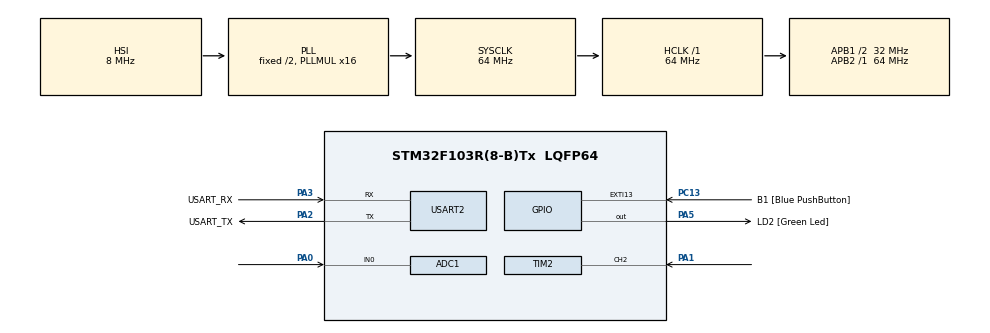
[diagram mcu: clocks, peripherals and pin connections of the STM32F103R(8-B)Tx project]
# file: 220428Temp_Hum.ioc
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ADC1.Channel-0\#ChannelRegularConversion=ADC_CHANNEL_0
ADC1.ContinuousConvMode=ENABLE
ADC1.NbrOfConversionFlag=1
ADC1.Rank-0\#ChannelRegularConversion=1
ADC1.SamplingTime-0\#ChannelRegularConversion=ADC_SAMPLETIME_1CYCLE_5
ADC1.master=1
Mcu.Family=STM32F1
Mcu.Name=STM32F103R(8-B)Tx
Mcu.Package=LQFP64
NVIC.EXTI15_10_IRQn=true\:0\:0\:false\:false\:true\:true\:true\:true
NVIC.PriorityGroup=NVIC_PRIORITYGROUP_4
PA0-WKUP.Signal=ADCx_IN0
PA1.Signal=S_TIM2_CH2
PA13.GPIO_Label=TMS
PA13.Mode=Serial_Wire
PA13.Signal=SYS_JTMS-SWDIO
PA14.GPIO_Label=TCK
PA14.Mode=Serial_Wire
PA14.Signal=SYS_JTCK-SWCLK
PA2.GPIO_Label=USART_TX
PA2.GPIO_Mode=GPIO_MODE_AF_PP
PA2.GPIO_PuPd=GPIO_NOPULL
PA2.GPIO_Speed=GPIO_SPEED_FREQ_LOW
PA2.Mode=Asynchronous
PA2.Signal=USART2_TX
PA3.GPIO_Label=USART_RX
PA3.GPIO_Mode=GPIO_MODE_AF_PP
PA3.GPIO_PuPd=GPIO_NOPULL
PA3.GPIO_Speed=GPIO_SPEED_FREQ_LOW
PA3.Mode=Asynchronous
PA3.Signal=USART2_RX
PA5.GPIO_Label=LD2 [Green Led]
PA5.GPIO_ModeDefaultOutputPP=GPIO_MODE_OUTPUT_PP
PA5.GPIO_PuPd=GPIO_NOPULL
PA5.GPIO_Speed=GPIO_SPEED_FREQ_LOW
PA5.Signal=GPIO_Output
PB3.GPIO_Label=SWO
PB3.Signal=SYS_JTDO-TRACESWO
PC13-TAMPER-RTC.GPIO_Label=B1 [Blue PushButton]
PC13-TAMPER-RTC.GPIO_PuPd=GPIO_NOPULL
PC13-TAMPER-RTC.Signal=GPXTI13
PC14-OSC32_IN.Mode=LSE-External-Oscillator
PC14-OSC32_IN.Signal=RCC_OSC32_IN
PC15-OSC32_OUT.Mode=LSE-External-Oscillator
PC15-OSC32_OUT.Signal=RCC_OSC32_OUT
PD0-OSC_IN.Mode=HSE-External-Clock-Source
PD0-OSC_IN.Signal=RCC_OSC_IN
PD1-OSC_OUT.Mode=HSE-External-Clock-Source
PD1-OSC_OUT.Signal=RCC_OSC_OUT
ProjectManager.HeapSize=0x200
ProjectManager.StackSize=0x400
ProjectManager.TargetToolchain=STM32CubeIDE
RCC.ADCPresc=RCC_ADCPCLK2_DIV8
RCC.AHBFreq_Value=64000000
RCC.APB1CLKDivider=RCC_HCLK_DIV2
RCC.APB1Freq_Value=32000000
RCC.APB1TimFreq_Value=64000000
RCC.APB2Freq_Value=64000000
RCC.APB2TimFreq_Value=64000000
RCC.HCLKFreq_Value=64000000
RCC.PLLMUL=RCC_PLL_MUL16
RCC.RTCClockSelection=RCC_RTCCLKSOURCE_LSE
RCC.SYSCLKFreq_VALUE=64000000
RCC.SYSCLKSource=RCC_SYSCLKSOURCE_PLLCLK
RCC.USBFreq_Value=64000000
SH.ADCx_IN0.0=ADC1_IN0,IN0
SH.S_TIM2_CH2.0=TIM2_CH2,Input_Capture2_from_TI2
TIM2.Channel-Input_Capture2_from_TI2=TIM_CHANNEL_2
TIM2.ICPolarity_CH2=TIM_INPUTCHANNELPOLARITY_FALLING
TIM2.Period=65535
TIM2.Prescaler=64-1
USART2.VirtualMode=VM_ASYNC
VP_TIM2_VS_ClockSourceINT.Mode=Internal
board=NUCLEO-F103RB

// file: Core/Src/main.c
/* USER CODE BEGIN Header */
/**
  ******************************************************************************
  * @file           : main.c
  * @brief          : Main program body
  ******************************************************************************
  * @attention
  *
  * Copyright (c) 2022 STMicroelectronics.
  * All rights reserved.
  *
  * This software is licensed under terms that can be found in the LICENSE file
  * in the root directory of this software component.
  * If no LICENSE file comes with this software, it is provided AS-IS.
  *
  ******************************************************************************
  */
/* USER CODE END Header */
#include "main.h"

/* USER CODE BEGIN Includes */
#include <stdio.h>
/* USER CODE END Includes */

 ADC_HandleTypeDef hadc1;

TIM_HandleTypeDef htim2;

UART_HandleTypeDef huart2;

void SystemClock_Config(void);
static void MX_GPIO_Init(void);
static void MX_USART2_UART_Init(void);
static void MX_TIM2_Init(void);
static void MX_ADC1_Init(void);

/* USER CODE BEGIN 0 */
#ifdef __GNUC__
/* With GCC, small printf (option LD Linker->Libraries->Small printf
   set to 'Yes') calls __io_putchar() */
#define PUTCHAR_PROTOTYPE int __io_putchar(int ch)
#else
#define PUTCHAR_PROTOTYPE int fputc(int ch, FILE *f)
#endif /* __GNUC__ */

PUTCHAR_PROTOTYPE
{
  /* Place your implementation of fputc here */
  /* e.g. write a character to the USART1 and Loop until the end of transmission */
  HAL_UART_Transmit(&huart2, (uint8_t *)&ch, 1, 0xFFFF);

  return ch;
}

void us_delay(uint16_t delay)
{
	__HAL_TIM_SET_COUNTER(&htim2, 0);
	while((__HAL_TIM_GET_COUNTER(&htim2)) < delay);
}

uint8_t RH_integral, RH_decimal, T_integral, T_decimal;
uint8_t CheckSUM, Presence = 0;

void Set_Pin_Output(GPIO_TypeDef *GPIOx, uint16_t GPIO_Pin)
{
//	GPIO_InitTypeDef GPIO_InitStruct = {0};
//	GPIO_InitStruct.Pin = GPIO_Pin;
//	GPIO_InitStruct.Mode = GPIO_MODE_OUTPUT_PP;
//	GPIO_InitStruct.Speed = GPIO_SPEED_FREQ_LOW;
//	HAL_GPIO_Init(GPIOx, &GPIO_InitStruct);
	GPIOA->CRL |= (1<< 3| 1<<1 | 1<< 0);
	GPIOA->CRL &= ~(1<<2);
}

void Set_Pin_Input(GPIO_TypeDef *GPIOx, uint16_t GPIO_Pin)
{
//	GPIO_InitTypeDef GPIO_InitStruct = {0};
//	GPIO_InitStruct.Pin = GPIO_Pin;
//	GPIO_InitStruct.Mode = GPIO_MODE_INPUT;
//	GPIO_InitStruct.Pull = GPIO_PULLUP;
//	HAL_GPIO_Init(GPIOx, &GPIO_InitStruct);
	GPIOA->CRL &= ~(1<<2 |1<<1 | 1<<0 );
	GPIOA->CRL |= 1<<3;
}

void DHT11_Start (void)
{
	Set_Pin_Output (GPIOA, GPIO_PIN_0);  // set the pin as output
	HAL_GPIO_WritePin (GPIOA, GPIO_PIN_0, GPIO_PIN_RESET);   // pull the pin low
	HAL_Delay (18);   // wait for 18ms
    HAL_GPIO_WritePin (GPIOA, GPIO_PIN_0, GPIO_PIN_SET);   // pull the pin high
	us_delay (20);   // wait for 20us
	Set_Pin_Input(GPIOA, GPIO_PIN_0);    // set as input
}

uint8_t DHT11_Check_Response (void)
{
	uint8_t Response = 0;
	us_delay (40);
	if (!(HAL_GPIO_ReadPin (GPIOA, GPIO_PIN_0)))
	{
		us_delay (80);
		if ((HAL_GPIO_ReadPin (GPIOA, GPIO_PIN_0))) Response = 1;
		else Response = -1; // 255
	}
	while ((HAL_GPIO_ReadPin (GPIOA, GPIO_PIN_0)));   // wait for the pin to go low

	return Response;
}

uint8_t DHT11_Read (void)
{
	uint8_t data;
	for (uint8_t i=0;i<8;i++)
	{
		while (!(HAL_GPIO_ReadPin (GPIOA, GPIO_PIN_0)));   // wait for the pin to go high
		us_delay (40);   // wait for 40 us
		if (!(HAL_GPIO_ReadPin (GPIOA, GPIO_PIN_0)))   // if the pin is low
		{
			data = (data << 1);   // write 0
		}
		else data = (data<<1) + 1;  // if the pin is high, write 1

		while ((HAL_GPIO_ReadPin (GPIOA, GPIO_PIN_0)));  // wait for the pin to go low
	}
	return data;
}

/* USER CODE END 0 */

int main(void)
{

  /* MCU Configuration--------------------------------------------------------*/

  /* Reset of all peripherals, Initializes the Flash interface and the Systick. */
  HAL_Init();

  /* Configure the system clock */
  SystemClock_Config();

  /* Initialize all configured peripherals */
  MX_GPIO_Init();
  MX_USART2_UART_Init();
  MX_TIM2_Init();
  MX_ADC1_Init();
  /* USER CODE BEGIN 2 */
  HAL_TIM_Base_Start(&htim2);
  /* USER CODE END 2 */

  /* Infinite loop */
  /* USER CODE BEGIN WHILE */
  while (1)
  {
	  DHT11_Start();
	  DHT11_Check_Response();

	  RH_integral = DHT11_Read ();
	  RH_decimal = DHT11_Read ();
	  T_integral = DHT11_Read ();
	  T_decimal = DHT11_Read ();
	  CheckSUM = DHT11_Read();

	  if ((RH_integral + RH_decimal + T_integral + T_decimal) == CheckSUM)
	  {
		  printf("Temperature: %d.%d 'C\n", T_integral, T_decimal);
		  printf("Humidity:    %d.%d %%\n", RH_integral, RH_decimal);
	  }
	  else
	  {
		  printf("DHT11 Error\n");
	  }

	  HAL_Delay(1000);
    /* USER CODE END WHILE */

  }
}

void SystemClock_Config(void)
{
  RCC_OscInitTypeDef RCC_OscInitStruct = {0};
  RCC_ClkInitTypeDef RCC_ClkInitStruct = {0};
  RCC_PeriphCLKInitTypeDef PeriphClkInit = {0};

  /** Initializes the RCC Oscillators according to the specified parameters
  * in the RCC_OscInitTypeDef structure.
  */
  RCC_OscInitStruct.OscillatorType = RCC_OSCILLATORTYPE_HSI;
  RCC_OscInitStruct.HSIState = RCC_HSI_ON;
  RCC_OscInitStruct.HSICalibrationValue = RCC_HSICALIBRATION_DEFAULT;
  RCC_OscInitStruct.PLL.PLLState = RCC_PLL_ON;
  RCC_OscInitStruct.PLL.PLLSource = RCC_PLLSOURCE_HSI_DIV2;
  RCC_OscInitStruct.PLL.PLLMUL = RCC_PLL_MUL16;
  if (HAL_RCC_OscConfig(&RCC_OscInitStruct) != HAL_OK)
  {
    Error_Handler();
  }

  /** Initializes the CPU, AHB and APB buses clocks
  */
  RCC_ClkInitStruct.ClockType = RCC_CLOCKTYPE_HCLK|RCC_CLOCKTYPE_SYSCLK
                              |RCC_CLOCKTYPE_PCLK1|RCC_CLOCKTYPE_PCLK2;
  RCC_ClkInitStruct.SYSCLKSource = RCC_SYSCLKSOURCE_PLLCLK;
  RCC_ClkInitStruct.AHBCLKDivider = RCC_SYSCLK_DIV1;
  RCC_ClkInitStruct.APB1CLKDivider = RCC_HCLK_DIV2;
  RCC_ClkInitStruct.APB2CLKDivider = RCC_HCLK_DIV1;

  if (HAL_RCC_ClockConfig(&RCC_ClkInitStruct, FLASH_LATENCY_2) != HAL_OK)
  {
    Error_Handler();
  }
  PeriphClkInit.PeriphClockSelection = RCC_PERIPHCLK_ADC;
  PeriphClkInit.AdcClockSelection = RCC_ADCPCLK2_DIV8;
  if (HAL_RCCEx_PeriphCLKConfig(&PeriphClkInit) != HAL_OK)
  {
    Error_Handler();
  }
}

static void MX_ADC1_Init(void)
{

  ADC_ChannelConfTypeDef sConfig = {0};

  /** Common config
  */
  hadc1.Instance = ADC1;
  hadc1.Init.ScanConvMode = ADC_SCAN_DISABLE;
  hadc1.Init.ContinuousConvMode = ENABLE;
  hadc1.Init.DiscontinuousConvMode = DISABLE;
  hadc1.Init.ExternalTrigConv = ADC_SOFTWARE_START;
  hadc1.Init.DataAlign = ADC_DATAALIGN_RIGHT;
  hadc1.Init.NbrOfConversion = 1;
  if (HAL_ADC_Init(&hadc1) != HAL_OK)
  {
    Error_Handler();
  }

  /** Configure Regular Channel
  */
  sConfig.Channel = ADC_CHANNEL_0;
  sConfig.Rank = ADC_REGULAR_RANK_1;
  sConfig.SamplingTime = ADC_SAMPLETIME_1CYCLE_5;
  if (HAL_ADC_ConfigChannel(&hadc1, &sConfig) != HAL_OK)
  {
    Error_Handler();
  }

}

static void MX_TIM2_Init(void)
{

  TIM_ClockConfigTypeDef sClockSourceConfig = {0};
  TIM_MasterConfigTypeDef sMasterConfig = {0};
  TIM_IC_InitTypeDef sConfigIC = {0};

  htim2.Instance = TIM2;
  htim2.Init.Prescaler = 64-1;
  htim2.Init.CounterMode = TIM_COUNTERMODE_UP;
  htim2.Init.Period = 65535;
  htim2.Init.ClockDivision = TIM_CLOCKDIVISION_DIV1;
  htim2.Init.AutoReloadPreload = TIM_AUTORELOAD_PRELOAD_DISABLE;
  if (HAL_TIM_Base_Init(&htim2) != HAL_OK)
  {
    Error_Handler();
  }
  sClockSourceConfig.ClockSource = TIM_CLOCKSOURCE_INTERNAL;
  if (HAL_TIM_ConfigClockSource(&htim2, &sClockSourceConfig) != HAL_OK)
  {
    Error_Handler();
  }
  if (HAL_TIM_IC_Init(&htim2) != HAL_OK)
  {
    Error_Handler();
  }
  sMasterConfig.MasterOutputTrigger = TIM_TRGO_RESET;
  sMasterConfig.MasterSlaveMode = TIM_MASTERSLAVEMODE_DISABLE;
  if (HAL_TIMEx_MasterConfigSynchronization(&htim2, &sMasterConfig) != HAL_OK)
  {
    Error_Handler();
  }
  sConfigIC.ICPolarity = TIM_INPUTCHANNELPOLARITY_FALLING;
  sConfigIC.ICSelection = TIM_ICSELECTION_DIRECTTI;
  sConfigIC.ICPrescaler = TIM_ICPSC_DIV1;
  sConfigIC.ICFilter = 0;
  if (HAL_TIM_IC_ConfigChannel(&htim2, &sConfigIC, TIM_CHANNEL_2) != HAL_OK)
  {
    Error_Handler();
  }

}

static void MX_USART2_UART_Init(void)
{

  huart2.Instance = USART2;
  huart2.Init.BaudRate = 115200;
  huart2.Init.WordLength = UART_WORDLENGTH_8B;
  huart2.Init.StopBits = UART_STOPBITS_1;
  huart2.Init.Parity = UART_PARITY_NONE;
  huart2.Init.Mode = UART_MODE_TX_RX;
  huart2.Init.HwFlowCtl = UART_HWCONTROL_NONE;
  huart2.Init.OverSampling = UART_OVERSAMPLING_16;
  if (HAL_UART_Init(&huart2) != HAL_OK)
  {
    Error_Handler();
  }

}

static void MX_GPIO_Init(void)
{
  GPIO_InitTypeDef GPIO_InitStruct = {0};

  /* GPIO Ports Clock Enable */
  __HAL_RCC_GPIOC_CLK_ENABLE();
  __HAL_RCC_GPIOD_CLK_ENABLE();
  __HAL_RCC_GPIOA_CLK_ENABLE();
  __HAL_RCC_GPIOB_CLK_ENABLE();

  /*Configure GPIO pin Output Level */
  HAL_GPIO_WritePin(LD2_GPIO_Port, LD2_Pin, GPIO_PIN_RESET);

  /*Configure GPIO pin : B1_Pin */
  GPIO_InitStruct.Pin = B1_Pin;
  GPIO_InitStruct.Mode = GPIO_MODE_IT_RISING;
  GPIO_InitStruct.Pull = GPIO_NOPULL;
  HAL_GPIO_Init(B1_GPIO_Port, &GPIO_InitStruct);

  /*Configure GPIO pin : LD2_Pin */
  GPIO_InitStruct.Pin = LD2_Pin;
  GPIO_InitStruct.Mode = GPIO_MODE_OUTPUT_PP;
  GPIO_InitStruct.Pull = GPIO_NOPULL;
  GPIO_InitStruct.Speed = GPIO_SPEED_FREQ_LOW;
  HAL_GPIO_Init(LD2_GPIO_Port, &GPIO_InitStruct);

  /* EXTI interrupt init*/
  HAL_NVIC_SetPriority(EXTI15_10_IRQn, 0, 0);
  HAL_NVIC_EnableIRQ(EXTI15_10_IRQn);

}

void Error_Handler(void)
{
  __disable_irq();
  while (1)
  {
  }
}
